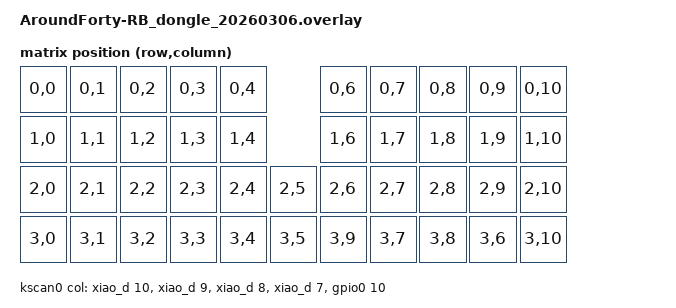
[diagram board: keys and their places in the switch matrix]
#include "../../common/AroundForty-RB.dtsi"
#include <input/processors.dtsi>                                 /* # input processor定義を使う（ここは必ずファイル先頭へ） */
#include <zephyr/dt-bindings/input/input-event-codes.h>
#include <dt-bindings/zmk/input_transform.h>


&default_transform {
    col-offset = <6>;
};

&kscan0 {
        col-gpios
            = <&xiao_d 10 GPIO_ACTIVE_HIGH>
            , <&xiao_d 9 GPIO_ACTIVE_HIGH> 
            , <&xiao_d 8 GPIO_ACTIVE_HIGH> 
            , <&xiao_d 7 GPIO_ACTIVE_HIGH> 
            , <&gpio0 10 GPIO_ACTIVE_HIGH>
            ;
};
/{
    default_transform: keymap_transform_0 {
        compatible = "zmk,matrix-transform";
        columns = <11>;
        rows = <4>;               
        map = <
            RC(0,0) RC(0,1) RC(0,2) RC(0,3) RC(0,4)                        RC(0,6) RC(0,7) RC(0,8) RC(0,9) RC(0,10)
            RC(1,0) RC(1,1) RC(1,2) RC(1,3) RC(1,4)                        RC(1,6) RC(1,7) RC(1,8) RC(1,9) RC(1,10)
            RC(2,0) RC(2,1) RC(2,2) RC(2,3) RC(2,4) RC(2,5)                RC(2,6) RC(2,7) RC(2,8) RC(2,9) RC(2,10)
            RC(3,0) RC(3,1) RC(3,2) RC(3,3) RC(3,4) RC(3,5)                RC(3,9) RC(3,7) RC(3,8) RC(3,6) RC(3,10)         
        >;
    };
};


/ {
    trackball_listener {
        compatible = "zmk,input-listener";
        device = <&trackball>;
        //input-processors = <&zip_temp_layer 9 100000>;
        input-processors = <&zip_xy_transform (INPUT_TRANSFORM_Y_INVERT)>, <&zip_temp_layer 9 100000>;

        scroll_override {                                        /* # レイヤー中だけスクロール化（対応しているfork/版のみ有効） */
            layers = <2 5>;                                      /* # スクロール化したいレイヤー番号 */
            input-processors = <&zip_xy_to_scroll_mapper>, <&zip_scroll_scaler 1 12>;       /* # XY移動→スクロールに変換 */
            process-next;                                        /* # B：この後もベース（zip_temp_layer）を続けて適用 */
        };                                                       /* # override終わり */
    };
};

&pinctrl {
    spi0_default: spi0_default {
        group1 {
            psels = <NRF_PSEL(SPIM_SCK, 0, 5)>,
                <NRF_PSEL(SPIM_MOSI, 0, 4)>,
                <NRF_PSEL(SPIM_MISO, 0, 4)>;
        };
    };

    spi0_sleep: spi0_sleep {
        group1 {
            psels = <NRF_PSEL(SPIM_SCK, 0, 5)>,
                <NRF_PSEL(SPIM_MOSI, 0, 4)>,
                <NRF_PSEL(SPIM_MISO, 0, 4)>;
            low-power-enable;
        };
    };
};

&xiao_serial { status = "disabled"; };

&spi0 {
    status = "okay";
    compatible = "nordic,nrf-spim";
    pinctrl-0 = <&spi0_default>;
    pinctrl-1 = <&spi0_sleep>;
    pinctrl-names = "default", "sleep";
    cs-gpios = <&gpio0 9 GPIO_ACTIVE_LOW>;

    trackball: trackball@0 {
        status = "okay";
        compatible = "pixart,pmw3610";
        reg = <0>;
        spi-max-frequency = <2000000>;
        irq-gpios = <&gpio0 2 (GPIO_ACTIVE_LOW | GPIO_PULL_UP)>;
        //automouse-layer = <8>;
        //scroll-layers = <10>;

        evt-type = <INPUT_EV_REL>;
        x-input-code = <INPUT_REL_X>;
        y-input-code = <INPUT_REL_Y>;

        /* 旧 .conf からの移行例（必要に応じてコメントアウトを外して使用） */
        cpi = <400>;       /* 旧: CONFIG_PMW3610_CPI=700 */
        invert-x;          /* 旧: CONFIG_PMW3610_INVERT_X=y */
        //invert-y;          /* 旧: CONFIG_PMW3610_INVERT_Y=y */
    };
};


